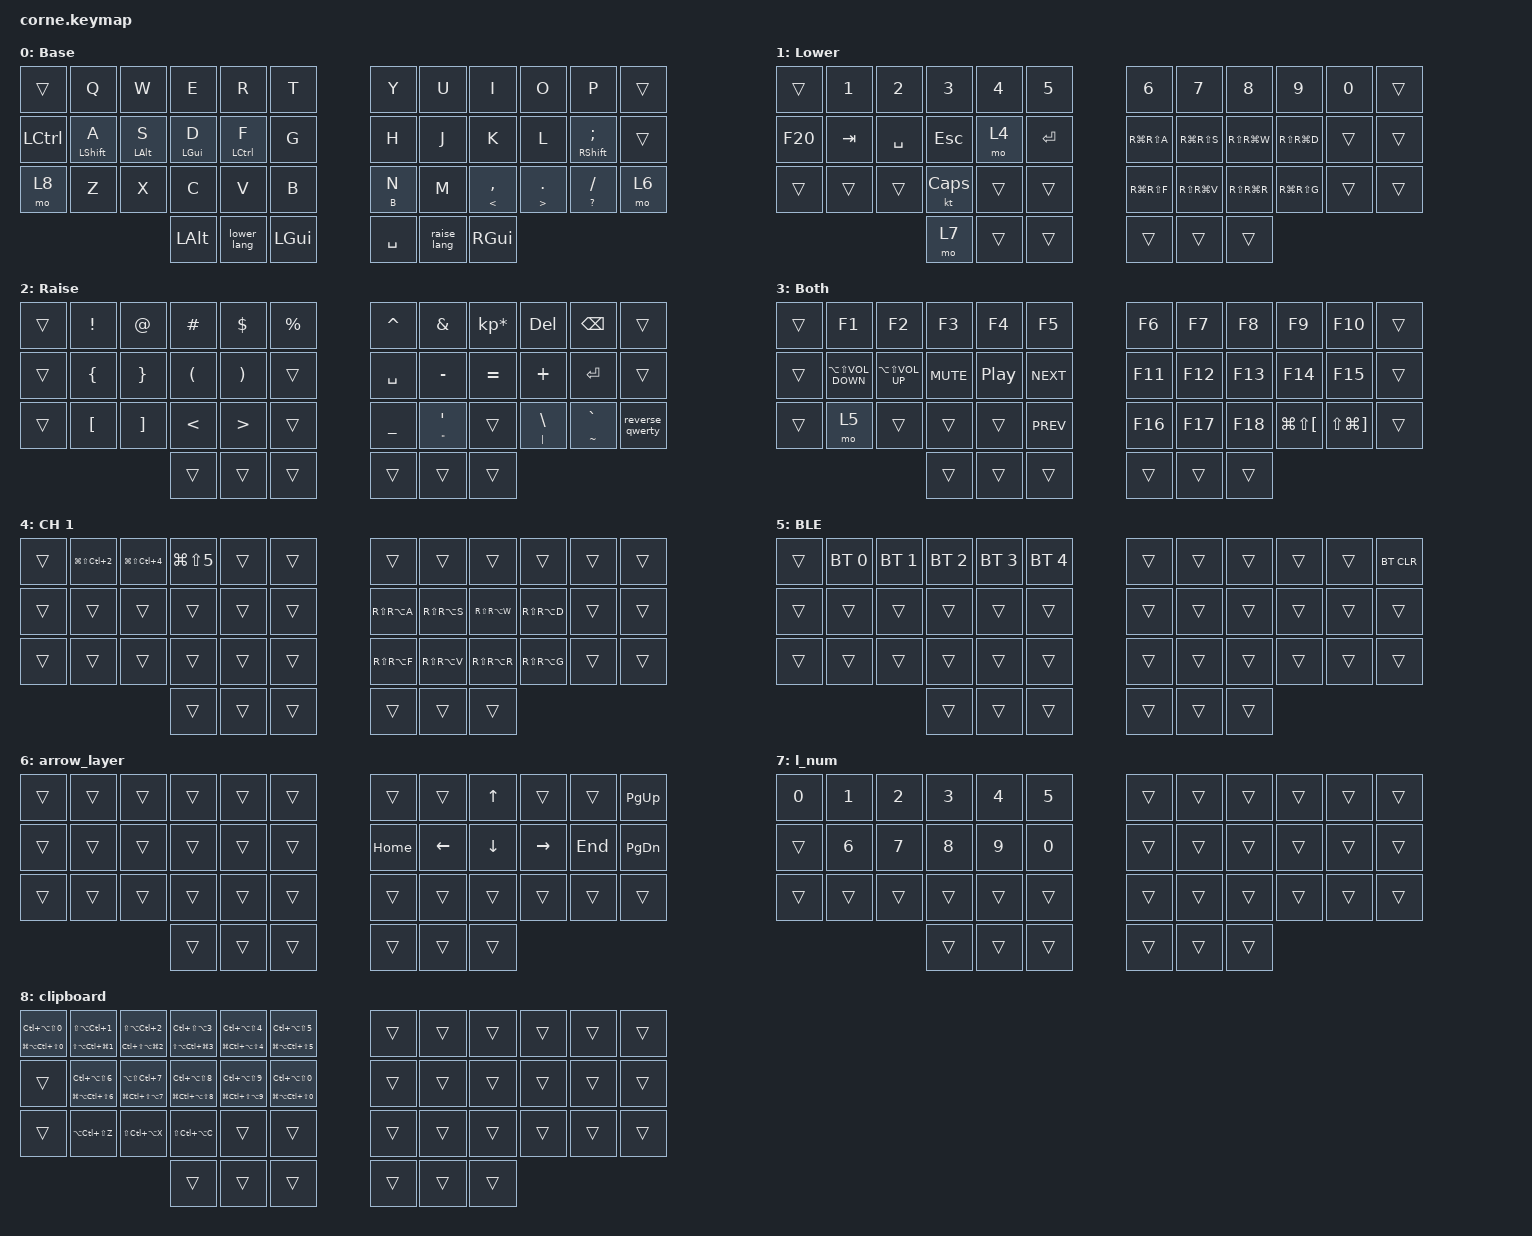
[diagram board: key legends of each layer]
/*
 * Copyright (c) 2020 The ZMK Contributors
 *
 * SPDX-License-Identifier: MIT
 */

#include <behaviors.dtsi>
#include <dt-bindings/zmk/bt.h>
#include <dt-bindings/zmk/keys.h>

&mt {
    bindings = <&kp>, <&kp>;

    tapping-term-ms = <200>;
    quick-tap-ms = <0>;
    flavor = "tap-preferred";
    hold-trigger-on-release;
};

/ {
    behaviors {
        raise_lang: raise_lang {
            compatible = "zmk,behavior-tap-dance";
            label = "RAISE_LANG";
            #binding-cells = <0>;
            bindings = <&mo 2>, <&kp RG(SPACE)>;
        };

        lower_lang: lower_lang {
            compatible = "zmk,behavior-tap-dance";
            label = "LOWER_LANG";
            #binding-cells = <0>;
            bindings = <&mo 1>, <&kp RG(SPACE)>;
        };
    };

    macros {
        reverse_qwerty: reverse_qwerty {
            compatible = "zmk,behavior-macro";
            #binding-cells = <0>;
            bindings = <&kp Y &kp T &kp R &kp E &kp W &kp Q &kp RET>;
            label = "REVERSE_QWERTY";
        };
    };

    keymap {
        compatible = "zmk,keymap";

        default_layer {
            // -----------------------------------------------------------------------------------------
            // |  TAB |  Q  |  W  |  E  |  R  |  T  |   |  Y  |  U   |  I  |  O  |  P  | BKSP |
            // | CTRL |  A  |  S  |  D  |  F  |  G  |   |  H  |  J   |  K  |  L  |  ;  |  '   |
            // | SHFT |  Z  |  X  |  C  |  V  |  B  |   |  N  |  M   |  ,  |  .  |  /  | ESC  |
            //                    | GUI | LWR | SPC |   | ENT | RSE  | ALT |

            display-name = "Base";
            bindings = <
&trans            &kp Q             &kp W           &kp E           &kp R        &kp T       &kp Y      &kp U        &kp I         &kp O       &kp P                 &trans
&kp LEFT_CONTROL  &mt LEFT_SHIFT A  &mt LEFT_ALT S  &mt LEFT_GUI D  &mt LCTRL F  &kp G       &kp H      &kp J        &kp K         &kp L       &mt RIGHT_SHIFT SEMI  &trans
&mo 8             &kp Z             &kp X           &kp C           &kp V        &kp B       &mt B N    &kp M        &mt LT COMMA  &mt GT DOT  &mt QUESTION FSLH     &mo 6
                                                    &kp LALT        &lower_lang  &kp LGUI    &kp SPACE  &raise_lang  &kp RGUI
            >;
        };

        lower_layer {
            // -----------------------------------------------------------------------------------------
            // |  TAB |  1  |  2  |  3  |  4  |  5  |   |  6  |  7  |  8  |  9  |  0  | BKSP |
            // | BTCLR| BT1 | BT2 | BT3 | BT4 | BT5 |   | LFT | DWN |  UP | RGT |     |      |
            // | SHFT |     |     |     |     |     |   |     |     |     |     |     |      |
            //                    | GUI |     | SPC |   | ENT |     | ALT |

            display-name = "Lower";
            bindings = <
&trans   &kp N1   &kp N2     &kp N3      &kp N4  &kp N5     &kp N6         &kp N7         &kp N8         &kp N9         &kp N0  &trans
&kp F20  &kp TAB  &kp SPACE  &kp ESCAPE  &mo 4   &kp RET    &kp RG(RS(A))  &kp RG(RS(S))  &kp RS(RG(W))  &kp RS(RG(D))  &trans  &trans
&trans   &trans   &trans     &kt CAPS    &trans  &trans     &kp RG(RS(F))  &kp RS(RG(V))  &kp RS(RG(R))  &kp RG(RS(G))  &trans  &trans
                             &mo 7       &trans  &trans     &trans         &trans         &trans
            >;
        };

        raise_layer {
            // -----------------------------------------------------------------------------------------
            // |  TAB |  !  |  @  |  #  |  $  |  %  |   |  ^  |  &  |  *  |  (  |  )  | BKSP |
            // | CTRL |     |     |     |     |     |   |  -  |  =  |  [  |  ]  |  \  |  `   |
            // | SHFT |     |     |     |     |     |   |  _  |  +  |  {  |  }  | "|" |  ~   |
            //                    | GUI |     | SPC |   | ENT |     | ALT |

            display-name = "Raise";
            bindings = <
&trans  &kp EXCL          &kp AT             &kp HASH              &kp DLLR               &kp PRCNT    &kp CARET  &kp AMPS               &kp KP_MULTIPLY  &kp DELETE          &kp BACKSPACE    &trans
&trans  &kp LEFT_BRACE    &kp RIGHT_BRACE    &kp LEFT_PARENTHESIS  &kp RIGHT_PARENTHESIS  &trans       &kp SPACE  &kp MINUS              &kp EQUAL        &kp PLUS            &kp RET          &trans
&trans  &kp LEFT_BRACKET  &kp RIGHT_BRACKET  &kp LT                &kp GT                 &trans       &kp UNDER  &mt DOUBLE_QUOTES SQT  &trans           &mt PIPE BACKSLASH  &mt TILDE GRAVE  &reverse_qwerty
                                             &trans                &trans                 &trans       &trans     &trans                 &trans
            >;
        };

        both_layer {
            bindings = <
&trans  &kp F1                     &kp F2                   &kp F3      &kp F4            &kp F5        &kp F6   &kp F7   &kp F8   &kp F9                    &kp F10                    &trans
&trans  &kp LA(LS(K_VOLUME_DOWN))  &kp LA(LS(K_VOLUME_UP))  &kp K_MUTE  &kp C_PLAY_PAUSE  &kp C_NEXT    &kp F11  &kp F12  &kp F13  &kp F14                   &kp F15                    &trans
&trans  &mo 5                      &trans                   &trans      &trans            &kp C_PREV    &kp F16  &kp F17  &kp F18  &kp LG(LS(LEFT_BRACKET))  &kp LS(LG(RIGHT_BRACKET))  &trans
                                                            &trans      &trans            &trans        &trans   &trans   &trans
            >;

            label = "Both";
        };

        chang_1 {
            display-name = "CH 1";
            bindings = <
&trans  &kp LG(LS(LC(NUMBER_2)))  &kp LG(LS(LC(NUMBER_4)))  &kp LG(LS(N5))  &trans  &trans    &trans         &trans         &trans         &trans         &trans  &trans
&trans  &trans                    &trans                    &trans          &trans  &trans    &kp RS(RA(A))  &kp RS(RA(S))  &kp RS(RA(W))  &kp RS(RA(D))  &trans  &trans
&trans  &trans                    &trans                    &trans          &trans  &trans    &kp RS(RA(F))  &kp RS(RA(V))  &kp RS(RA(R))  &kp RS(RA(G))  &trans  &trans
                                                            &trans          &trans  &trans    &trans         &trans         &trans
            >;

            label = "CH1";
        };

        bluetooth_layer {
            bindings = <
&trans  &bt BT_SEL 0  &bt BT_SEL 1  &bt BT_SEL 2  &bt BT_SEL 3  &bt BT_SEL 4    &trans  &trans  &trans  &trans  &trans  &bt BT_CLR
&trans  &trans        &trans        &trans        &trans        &trans          &trans  &trans  &trans  &trans  &trans  &trans
&trans  &trans        &trans        &trans        &trans        &trans          &trans  &trans  &trans  &trans  &trans  &trans
                                    &trans        &trans        &trans          &trans  &trans  &trans
            >;

            label = "BLE";
        };

        arrow_layer {
            bindings = <
&trans  &trans  &trans  &trans  &trans  &trans    &trans    &trans          &kp UP_ARROW    &trans           &trans   &kp PAGE_UP
&trans  &trans  &trans  &trans  &trans  &trans    &kp HOME  &kp LEFT_ARROW  &kp DOWN_ARROW  &kp RIGHT_ARROW  &kp END  &kp PAGE_DOWN
&trans  &trans  &trans  &trans  &trans  &trans    &trans    &trans          &trans          &trans           &trans   &trans
                        &trans  &trans  &trans    &trans    &trans          &trans
            >;
        };

        l_num {
            bindings = <
&kp N0  &kp NUMBER_1  &kp NUMBER_2  &kp NUMBER_3  &kp NUMBER_4  &kp N5    &trans  &trans  &trans  &trans  &trans  &trans
&trans  &kp NUMBER_6  &kp N7        &kp N8        &kp N9        &kp N0    &trans  &trans  &trans  &trans  &trans  &trans
&trans  &trans        &trans        &trans        &trans        &trans    &trans  &trans  &trans  &trans  &trans  &trans
                                    &trans        &trans        &trans    &trans  &trans  &trans
            >;
        };

        clipboard {
            bindings = <
&mt LG(LA(LC(LS(N0)))) LC(LA(LS(N0)))  &mt LS(LA(LC(LG(NUMBER_1)))) LS(LA(LC(NUMBER_1)))  &mt LC(LS(LA(LG(NUMBER_2)))) LS(LA(LC(NUMBER_2)))  &mt LS(LA(LC(LG(NUMBER_3)))) LC(LS(LA(NUMBER_3)))  &mt LG(LC(LA(LS(NUMBER_4)))) LC(LA(LS(NUMBER_4)))  &mt LG(LA(LC(LS(N5)))) LC(LA(LS(N5)))          &trans  &trans  &trans  &trans  &trans  &trans
&trans                                 &mt LG(LA(LC(LS(NUMBER_6)))) LC(LA(LS(NUMBER_6)))  &mt LG(LC(LS(LA(N7)))) LA(LS(LC(N7)))              &mt LG(LC(LA(LS(NUMBER_8)))) LC(LA(LS(N8)))        &mt LG(LC(LS(LA(NUMBER_9)))) LC(LA(LS(NUMBER_9)))  &mt LG(LA(LC(LS(N0)))) LC(LA(LS(NUMBER_0)))    &trans  &trans  &trans  &trans  &trans  &trans
&trans                                 &kp LA(LC(LS(Z)))                                  &kp LS(LC(LA(X)))                                  &kp LS(LC(LA(C)))                                  &trans                                             &trans                                         &trans  &trans  &trans  &trans  &trans  &trans
                                                                                                                                             &trans                                             &trans                                             &trans                                         &trans  &trans  &trans
            >;
        };
    };

    conditional_layers {
        compatible = "zmk,conditional-layers";

        Both {
            if-layers = <1 2>;
            then-layer = <3>;
        };
    };
};
